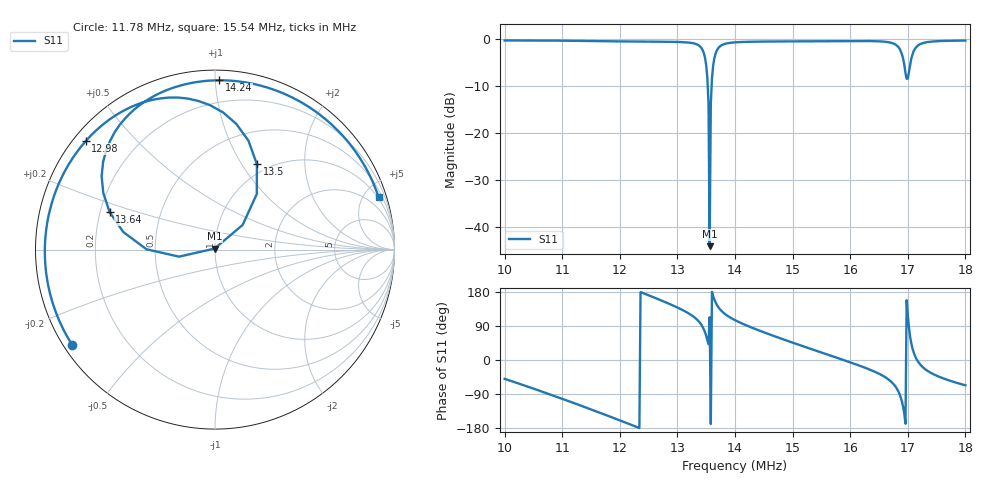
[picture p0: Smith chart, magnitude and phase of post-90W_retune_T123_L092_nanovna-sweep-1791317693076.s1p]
! NanoVNA Web complex sweep
! Processing: original sample grid, no browser smoothing
# Hz S RI R 50
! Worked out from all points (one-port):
!   401 points, 10 MHz to 18 MHz, reference 50 ohm
!   lowest |S11| = -44.1 dB at 13.56 MHz (marker M1), VSWR 1.01, Z = 49.8 + j0.568 ohm
!   |S11| at or under -10 dB: 13.52645 MHz to 13.59397 MHz (67.53 kHz wide, 0.498 % of centre)
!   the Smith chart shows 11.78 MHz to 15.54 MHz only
!   S11 on the Smith chart (normalised r, x): 11.78 MHz: 0.02, -0.30; 12.98 MHz: 0.03, +0.36; 13.5 MHz: 0.88, +1.17; 13.64 MHz: 0.24, +0.16; 14.24 MHz: 0.06, +1.02; 15.54 MHz: 0.90, +6.29
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1e7  0.6304 -0.7429
1.1e7  -0.2074 -0.9472
1.178e7  -0.7967 -0.5292
1.2e7  -0.891 -0.3374
1.298e7  -0.7196 0.6051
1.3e7  -0.7041 0.6224
1.336e7  -0.2061 0.8471
1.35e7  0.2335 0.4753
1.352e7  0.2328 0.3096
1.356e7  -0.00242 0.00571
1.36e7  -0.3817 0.00191
1.362e7  -0.511 0.098
1.364e7  -0.5873 0.209
1.378e7  -0.5305 0.6956
1.4e7  -0.2433 0.8982
1.424e7  0.0225 0.9433
1.5e7  0.6638 0.6834
1.554e7  0.9118 0.2914
1.6e7  0.9533 -0.104
1.654e7  0.7358 -0.6033
1.682e7  0.1715 -0.8308
1.694e7  -0.4237 -0.3272
1.7e7  -0.1822 0.337
1.704e7  0.2528 0.4747
1.71e7  0.6942 0.2704
1.72e7  0.8702 -0.1366
1.748e7  0.731 -0.6143
1.8e7  0.3829 -0.8932
